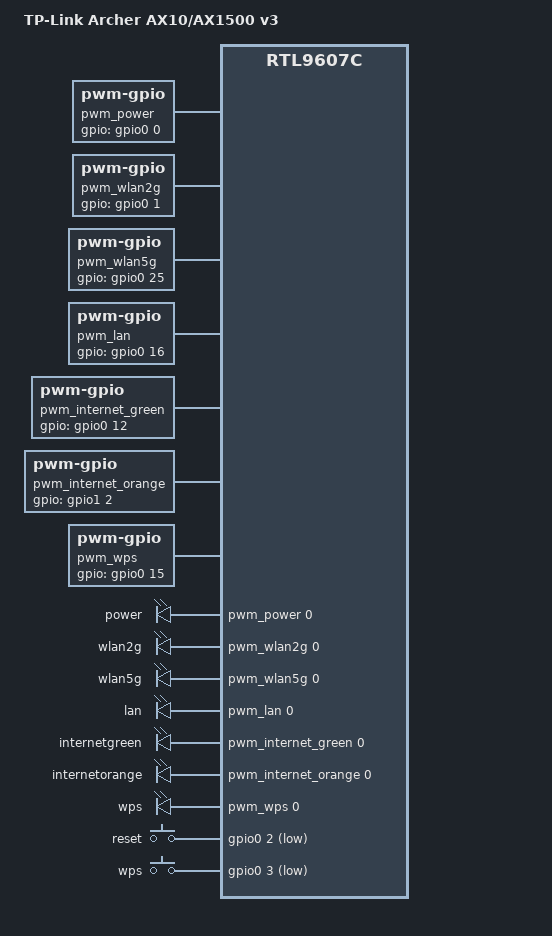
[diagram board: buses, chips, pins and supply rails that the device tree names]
// SPDX-License-Identifier: GPL-2.0-only
/dts-v1/;

#include "rtl9607c_soc.dtsi"
#include <dt-bindings/gpio/gpio.h>
#include <dt-bindings/input/input.h>
#include <dt-bindings/pwm/pwm.h>

/ {
	compatible = "rtk,9607c";
	model = "TP-Link Archer AX10/AX1500 v3";
	#address-cells = <1>;
	#size-cells = <1>;

	/* Board wiring from the stock kernel DTB. GPIO PWM uses the physical
	 * level directly; PWM polarity supplies the single active-low inversion.
	 * 5 ms periods give 200 Hz dimming. Zero/full duty need no timer toggles.
	 */
	pwm_power: pwm-power {
		compatible = "pwm-gpio";
		#pwm-cells = <3>;
		gpios = <&gpio0 0 GPIO_ACTIVE_HIGH>;
	};
	pwm_wlan2g: pwm-wlan2g {
		compatible = "pwm-gpio";
		#pwm-cells = <3>;
		gpios = <&gpio0 1 GPIO_ACTIVE_HIGH>;
	};
	pwm_wlan5g: pwm-wlan5g {
		compatible = "pwm-gpio";
		#pwm-cells = <3>;
		gpios = <&gpio0 25 GPIO_ACTIVE_HIGH>;
	};
	pwm_lan: pwm-lan {
		compatible = "pwm-gpio";
		#pwm-cells = <3>;
		gpios = <&gpio0 16 GPIO_ACTIVE_HIGH>;
	};
	pwm_internet_green: pwm-internet-green {
		compatible = "pwm-gpio";
		#pwm-cells = <3>;
		gpios = <&gpio0 12 GPIO_ACTIVE_HIGH>;
	};
	pwm_internet_orange: pwm-internet-orange {
		compatible = "pwm-gpio";
		#pwm-cells = <3>;
		gpios = <&gpio1 2 GPIO_ACTIVE_HIGH>;
	};
	pwm_wps: pwm-wps {
		compatible = "pwm-gpio";
		#pwm-cells = <3>;
		gpios = <&gpio0 15 GPIO_ACTIVE_HIGH>;
	};

	leds {
		compatible = "pwm-leds";
		led_power: led-0 {
			label = "power";
			pwms = <&pwm_power 0 5000000 PWM_POLARITY_INVERTED>;
			max-brightness = <255>;
			default-state = "on";
		};
		led_wlan2g: led-1 {
			label = "wlan2g";
			pwms = <&pwm_wlan2g 0 5000000 PWM_POLARITY_INVERTED>;
			max-brightness = <255>;
			default-state = "off";
		};
		led_wlan5g: led-2 {
			label = "wlan5g";
			pwms = <&pwm_wlan5g 0 5000000 PWM_POLARITY_INVERTED>;
			max-brightness = <255>;
			default-state = "off";
		};
		led_lan: led-3 {
			label = "lan";
			pwms = <&pwm_lan 0 5000000 PWM_POLARITY_INVERTED>;
			max-brightness = <255>;
			default-state = "off";
		};
		led_internet_green: led-4 {
			label = "internetgreen";
			pwms = <&pwm_internet_green 0 5000000 PWM_POLARITY_INVERTED>;
			max-brightness = <255>;
			default-state = "off";
		};
		led_internet_orange: led-5 {
			label = "internetorange";
			pwms = <&pwm_internet_orange 0 5000000 PWM_POLARITY_INVERTED>;
			max-brightness = <255>;
			default-state = "off";
		};
		led_wps: led-6 {
			label = "wps";
			pwms = <&pwm_wps 0 5000000 PWM_POLARITY_INVERTED>;
			max-brightness = <255>;
			default-state = "off";
		};
	};

	boot-leds {
		compatible = "phoebus,boot-leds";
		leds = <&led_power>, <&led_wlan2g>, <&led_wlan5g>, <&led_lan>,
		       <&led_internet_green>, <&led_internet_orange>, <&led_wps>;
	};

	/* The engineering-board buttons used GPIO34, which is our orange LED. */
	gpio-keys-polled {
		compatible = "gpio-keys-polled";
		poll-interval = <20>;
		autorepeat;
		reset {
			label = "reset";
			linux,code = <KEY_RESTART>;
			gpios = <&gpio0 2 GPIO_ACTIVE_LOW>;
		};
		wps {
			label = "wps";
			linux,code = <KEY_WPS_BUTTON>;
			gpios = <&gpio0 3 GPIO_ACTIVE_LOW>;
		};
	};

	board_setting {
		pci0_gpio_rst = <&gpio1 8 GPIO_ACTIVE_HIGH>;
		pci1_gpio_rst = <&gpio1 7 GPIO_ACTIVE_HIGH>;
	};
};

&gic {
	timer {
		compatible = "mti,gic-timer";
		interrupts = <GIC_LOCAL 1 IRQ_TYPE_NONE>;
		clocks = <&apro_soc_clk 0>;
		clock-frequency = <900000000>;
	};
};

&uart0 {
	interrupt-parent = <&gic>;
	interrupts = <GIC_SHARED GIC_EXT_UART0 IRQ_TYPE_LEVEL_HIGH>;
};
